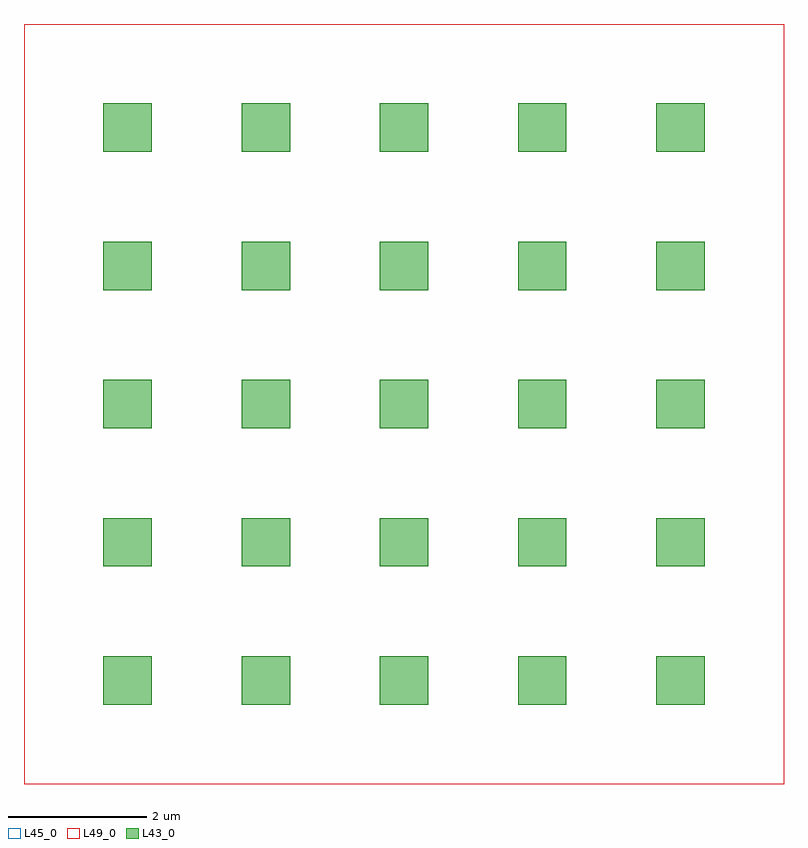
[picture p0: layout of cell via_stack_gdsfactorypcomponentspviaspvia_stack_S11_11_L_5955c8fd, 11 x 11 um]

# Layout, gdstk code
import gdstk
lib = gdstk.Library(unit=1e-6, precision=1e-09)
def R(c, l, rs):  # rectangles x0, y0, x1, y1
    for r in rs: c.add(gdstk.rectangle(r[:2], r[2:], *l))
L43_0 = (43, 0)
L45_0 = (45, 0)
L49_0 = (49, 0)

compass_gdsfactorypcompo = lib.new_cell('compass_gdsfactorypcomponentspshapespcompass_S11_11_LM2_786eb8ce')
R(compass_gdsfactorypcompo, L45_0, [(-5.5,-5.5,5.5,5.5)])

c_compass_gdsfactorypcompo = lib.new_cell('compass_gdsfactorypcomponentspshapespcompass_S11_11_LM3_4637d102')
R(c_compass_gdsfactorypcompo, L49_0, [(-5.5,-5.5,5.5,5.5)])

via_gdsfactorypcomponent = lib.new_cell('via_gdsfactorypcomponentspviaspvia_S0p7_0p7_E1_LVIA2_BL_c51b5ebb')
R(via_gdsfactorypcomponent, L43_0, [(-0.35,-0.35,0.35,0.35)])

via_stack_gdsfactorypcom = lib.new_cell('via_stack_gdsfactorypcomponentspviaspvia_stack_S11_11_L_5955c8fd')
via_stack_gdsfactorypcom.add(gdstk.Reference(compass_gdsfactorypcompo, (0,0)))
via_stack_gdsfactorypcom.add(gdstk.Reference(c_compass_gdsfactorypcompo, (0,0)))
r = gdstk.Reference(via_gdsfactorypcomponent, (-4,-4)); r.repetition = gdstk.Repetition(5, 5, v1=(2,0), v2=(0,2)); via_stack_gdsfactorypcom.add(r)

lib.write_gds('via_stack_gdsfactorypcomponentspviaspvia_stack_S11_11_L_5955c8fd.gds')
